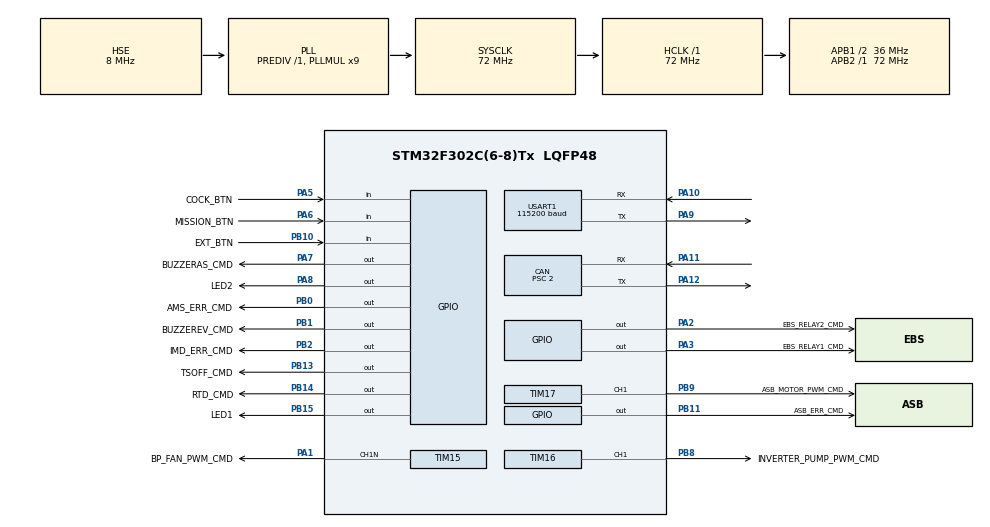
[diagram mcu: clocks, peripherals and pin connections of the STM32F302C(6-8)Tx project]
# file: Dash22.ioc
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CAN.ABOM=ENABLE
CAN.BS1=CAN_BS1_15TQ
CAN.BS2=CAN_BS2_2TQ
CAN.CalculateBaudRate=1000000
CAN.CalculateTimeBit=1000
CAN.CalculateTimeQuantum=55.55555555555556
CAN.Prescaler=2
CAN.RFLM=DISABLE
CAN.SJW=CAN_SJW_1TQ
CAN.TXFP=DISABLE
Mcu.Family=STM32F3
Mcu.Name=STM32F302C(6-8)Tx
Mcu.Package=LQFP48
NVIC.CAN_RX1_IRQn=true\:0\:0\:false\:false\:true\:true\:true\:true
NVIC.CAN_SCE_IRQn=true\:0\:0\:false\:false\:true\:true\:true\:true
NVIC.PriorityGroup=NVIC_PRIORITYGROUP_4
NVIC.TIM1_BRK_TIM15_IRQn=true\:0\:0\:false\:false\:true\:true\:true\:true
NVIC.TIM1_CC_IRQn=true\:0\:0\:false\:false\:true\:true\:true\:true
NVIC.TIM1_TRG_COM_TIM17_IRQn=true\:0\:0\:false\:false\:true\:true\:true\:true
NVIC.TIM1_UP_TIM16_IRQn=true\:0\:0\:false\:false\:true\:true\:true\:true
NVIC.TIM2_IRQn=true\:0\:0\:false\:false\:true\:true\:true\:true
NVIC.USB_HP_CAN_TX_IRQn=true\:0\:0\:false\:false\:true\:true\:true\:true
NVIC.USB_LP_CAN_RX0_IRQn=true\:0\:0\:false\:false\:true\:true\:true\:true
PA1.GPIO_Label=BP_FAN_PWM_CMD
PA1.Mode=PWM Generation1 CH1N
PA1.Signal=TIM15_CH1N
PA10.Mode=Asynchronous
PA10.Signal=USART1_RX
PA11.Mode=CAN_Activate
PA11.Signal=CAN_RX
PA12.Mode=CAN_Activate
PA12.Signal=CAN_TX
PA13.Mode=Serial_Wire
PA13.Signal=SYS_JTMS-SWDIO
PA14.Mode=Serial_Wire
PA14.Signal=SYS_JTCK-SWCLK
PA15.Signal=SYS_JTDI
PA2.GPIO_Label=EBS_RELAY2_CMD
PA2.Signal=GPIO_Output
PA3.GPIO_Label=EBS_RELAY1_CMD
PA3.Signal=GPIO_Output
PA5.GPIO_Label=COCK_BTN
PA5.GPIO_PuPd=GPIO_PULLUP
PA5.Signal=GPIO_Input
PA6.GPIO_Label=MISSION_BTN
PA6.GPIO_PuPd=GPIO_PULLUP
PA6.Signal=GPIO_Input
PA7.GPIO_Label=BUZZERAS_CMD
PA7.GPIO_PuPd=GPIO_NOPULL
PA7.Signal=GPIO_Output
PA8.GPIO_Label=LED2
PA8.GPIO_PuPd=GPIO_PULLDOWN
PA8.PinState=GPIO_PIN_SET
PA8.Signal=GPIO_Output
PA9.Mode=Asynchronous
PA9.Signal=USART1_TX
PB0.GPIO_Label=AMS_ERR_CMD
PB0.Signal=GPIO_Output
PB1.GPIO_Label=BUZZEREV_CMD
PB1.Signal=GPIO_Output
PB10.GPIO_Label=EXT_BTN
PB10.GPIO_PuPd=GPIO_PULLUP
PB10.Signal=GPIO_Input
PB11.GPIO_Label=ASB_ERR_CMD
PB11.Signal=GPIO_Output
PB13.GPIO_Label=TSOFF_CMD
PB13.Signal=GPIO_Output
PB14.GPIO_Label=RTD_CMD
PB14.GPIO_PuPd=GPIO_NOPULL
PB14.Signal=GPIO_Output
PB15.GPIO_Label=LED1
PB15.Signal=GPIO_Output
PB2.GPIO_Label=IMD_ERR_CMD
PB2.Signal=GPIO_Output
PB8.GPIO_Label=INVERTER_PUMP_PWM_CMD
PB8.Signal=S_TIM16_CH1
PB9.GPIO_Label=ASB_MOTOR_PWM_CMD
PB9.Signal=S_TIM17_CH1
PF0-OSC_IN.Mode=HSE-External-Oscillator
PF0-OSC_IN.Signal=RCC_OSC_IN
PF1-OSC_OUT.Mode=HSE-External-Oscillator
PF1-OSC_OUT.Signal=RCC_OSC_OUT
ProjectManager.HeapSize=0x200
ProjectManager.StackSize=0x400
ProjectManager.TargetToolchain=Makefile
RCC.AHBFreq_Value=72000000
RCC.APB1CLKDivider=RCC_HCLK_DIV2
RCC.APB1Freq_Value=36000000
RCC.APB1TimFreq_Value=72000000
RCC.APB2Freq_Value=72000000
RCC.APB2TimFreq_Value=72000000
RCC.CortexFreq_Value=72000000
RCC.DATA_CACHE_ENABLE=1
RCC.HCLKFreq_Value=72000000
RCC.HSE_VALUE=8000000
RCC.HSI_VALUE=8000000
RCC.INSTRUCTION_CACHE_ENABLE=1
RCC.LSE_VALUE=32768
RCC.PLLMUL=RCC_PLL_MUL9
RCC.PLLSourceVirtual=RCC_PLLSOURCE_HSE
RCC.PWR_Regulator_Voltage_Scale=PWR_REGULATOR_VOLTAGE_SCALE2
RCC.RCC_TIM_PRescaler_Selection=RCC_TIMPRES_DESACTIVATED
RCC.SYSCLKFreq_VALUE=72000000
RCC.SYSCLKSourceVirtual=RCC_SYSCLKSOURCE_PLLCLK
RCC.USBFreq_Value=72000000
SH.S_TIM16_CH1.0=TIM16_CH1,PWM Generation1 CH1
SH.S_TIM17_CH1.0=TIM17_CH1,PWM Generation1 CH1
TIM1.Channel-Output\ Compare1\ No\ Output=TIM_CHANNEL_1
TIM1.Period=10000
TIM1.Prescaler=72-1
TIM15.Channel-PWM\ Generation1\ CH1N=TIM_CHANNEL_1
TIM15.Period=256-1
TIM15.Prescaler=14-1
TIM16.Channel=TIM_CHANNEL_1
TIM16.OCIdleState_1=TIM_OCIDLESTATE_RESET
TIM16.OCMode_PWM=TIM_OCMODE_PWM2
TIM16.Period=256-1
TIM16.Prescaler=14-1
TIM16.Pulse=0
TIM17.Channel=TIM_CHANNEL_1
TIM17.OCMode_PWM=TIM_OCMODE_PWM2
TIM17.Period=256-1
TIM17.Prescaler=14-1
TIM2.Period=7200-1
USART1.BaudRate=115200
USART1.VirtualMode-Asynchronous=VM_ASYNC
VP_TIM15_VS_ClockSourceINT.Mode=Internal
VP_TIM16_VS_ClockSourceINT.Mode=Enable_Timer
VP_TIM17_VS_ClockSourceINT.Mode=Enable_Timer
VP_TIM1_VS_ClockSourceINT.Mode=Internal
VP_TIM1_VS_no_output1.Mode=Output Compare1 No Output
VP_TIM2_VS_ClockSourceINT.Mode=Internal
board=custom

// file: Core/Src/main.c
/* USER CODE BEGIN Header */
/**
 ******************************************************************************
 * @file           : main.c
 * @brief          : Main program body
 ******************************************************************************
 * @attention
 *
 * <h2><center>&copy; Copyright (c) 2019 STMicroelectronics.
 * All rights reserved.</center></h2>
 *
 * This software component is licensed by ST under BSD 3-Clause license,
 * the "License"; You may not use this file except in compliance with the
 * License. You may obtain a copy of the License at:
 *                        opensource.org/licenses/BSD-3-Clause
 *
 ******************************************************************************
 */
/* USER CODE END Header */
#include "main.h"
#include "can.h"
#include "gpio.h"
#include "tim.h"
#include "usart.h"

/* USER CODE BEGIN Includes */
#include "dashboard.h"
#include <stdio.h>
/* USER CODE END Includes */

/* USER CODE BEGIN PV */

/*UART1 variabls*/
char msg[80] = "";
char value[60] = "";

/*CAN variables*/

/* USER CODE END PV */

void SystemClock_Config(void);

int main(void)
{

    /* MCU Configuration--------------------------------------------------------*/

    /* Reset of all peripherals, Initializes the Flash interface and the Systick. */
    HAL_Init();

    /* Configure the system clock */
    SystemClock_Config();

    /* Initialize all configured peripherals */
    MX_GPIO_Init();
    MX_USART1_UART_Init();
    MX_TIM16_Init();
    MX_TIM17_Init();
    MX_CAN_Init();
    MX_TIM15_Init();
    MX_TIM1_Init();
    MX_TIM2_Init();
    /* USER CODE BEGIN 2 */
    // Start the counter
    HAL_TIM_Base_Start_IT(&COUNTER_TIM);
    HAL_CAN_Start(&hcan);

    SetupDashBoard();

    InitDashBoard();
    /* USER CODE END 2 */

    /* Infinite loop */
    while (1)
    {

        /* USER CODE BEGIN 3 */
        CoreDashBoard();
    }
    /* USER CODE END 3 */
}

void SystemClock_Config(void)
{
    RCC_OscInitTypeDef RCC_OscInitStruct = {0};
    RCC_ClkInitTypeDef RCC_ClkInitStruct = {0};
    RCC_PeriphCLKInitTypeDef PeriphClkInit = {0};

    /** Initializes the RCC Oscillators according to the specified parameters
     * in the RCC_OscInitTypeDef structure.
     */
    RCC_OscInitStruct.OscillatorType = RCC_OSCILLATORTYPE_HSE;
    RCC_OscInitStruct.HSEState = RCC_HSE_ON;
    RCC_OscInitStruct.HSEPredivValue = RCC_HSE_PREDIV_DIV1;
    RCC_OscInitStruct.HSIState = RCC_HSI_ON;
    RCC_OscInitStruct.PLL.PLLState = RCC_PLL_ON;
    RCC_OscInitStruct.PLL.PLLSource = RCC_PLLSOURCE_HSE;
    RCC_OscInitStruct.PLL.PLLMUL = RCC_PLL_MUL9;
    if (HAL_RCC_OscConfig(&RCC_OscInitStruct) != HAL_OK)
    {
        Error_Handler();
    }

    /** Initializes the CPU, AHB and APB buses clocks
     */
    RCC_ClkInitStruct.ClockType = RCC_CLOCKTYPE_HCLK | RCC_CLOCKTYPE_SYSCLK | RCC_CLOCKTYPE_PCLK1 | RCC_CLOCKTYPE_PCLK2;
    RCC_ClkInitStruct.SYSCLKSource = RCC_SYSCLKSOURCE_PLLCLK;
    RCC_ClkInitStruct.AHBCLKDivider = RCC_SYSCLK_DIV1;
    RCC_ClkInitStruct.APB1CLKDivider = RCC_HCLK_DIV2;
    RCC_ClkInitStruct.APB2CLKDivider = RCC_HCLK_DIV1;

    if (HAL_RCC_ClockConfig(&RCC_ClkInitStruct, FLASH_LATENCY_2) != HAL_OK)
    {
        Error_Handler();
    }
    PeriphClkInit.PeriphClockSelection = RCC_PERIPHCLK_USART1 | RCC_PERIPHCLK_TIM1 | RCC_PERIPHCLK_TIM15 | RCC_PERIPHCLK_TIM16 | RCC_PERIPHCLK_TIM17;
    PeriphClkInit.Usart1ClockSelection = RCC_USART1CLKSOURCE_PCLK1;
    PeriphClkInit.Tim1ClockSelection = RCC_TIM1CLK_HCLK;
    PeriphClkInit.Tim15ClockSelection = RCC_TIM15CLK_HCLK;
    PeriphClkInit.Tim16ClockSelection = RCC_TIM16CLK_HCLK;
    PeriphClkInit.Tim17ClockSelection = RCC_TIM17CLK_HCLK;
    if (HAL_RCCEx_PeriphCLKConfig(&PeriphClkInit) != HAL_OK)
    {
        Error_Handler();
    }
}

void Error_Handler(void)
{
    /* USER CODE BEGIN Error_Handler_Debug */
    /* User can add his own implementation to report the HAL error return state */
    // HAL_GPIO_TogglePin(GPIOE, GPIO_PIN_11);
    memset(msg, 0, strlen(msg));
    sprintf(msg, "\n\rError_Handler occurs\n\r");
    HAL_UART_Transmit(&huart1, (uint8_t *)msg, 30, 20);

    HAL_GPIO_WritePin(LED1_GPIO_Port, LED1_Pin, OFF);
    HAL_GPIO_WritePin(LED2_GPIO_Port, LED2_Pin, ON);

    HAL_GPIO_WritePin(BUZZERAS_CMD_GPIO_Port, BUZZERAS_CMD_Pin, GPIO_PIN_SET);
    while (1)
    {

        /*Do nothing*/
    }
    /* USER CODE END Error_Handler_Debug */
}
